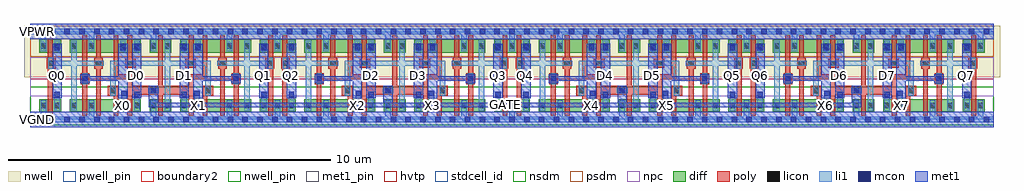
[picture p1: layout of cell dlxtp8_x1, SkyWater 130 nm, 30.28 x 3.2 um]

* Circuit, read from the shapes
.subckt dlxtp8_x1 D0 D1 D2 D3 D4 D5 D6 D7 GATE GN0 GN1 GN2 GN3 Q0 Q1 Q2 Q3 Q4 Q5 Q6 Q7 VGND VNB VPB VPWR X0 X1 X2 X3 X4 X5 X6 X7 XB0 XB1 XB2 XB3 XB4 XB5 XB6 XB7
XM1 Q0 XB0 VGND VNB sky130_fd_pr__nfet_01v8 w=0.39 l=0.15
XM2 VGND X0 XB0 VNB sky130_fd_pr__nfet_01v8 w=0.39 l=0.15
XM3 n1 XB0 VGND VNB sky130_fd_pr__nfet_01v8 w=0.39 l=0.15
XM4 X0 GN0 n1 VNB sky130_fd_pr__nfet_01v8 w=0.39 l=0.15
XM5 D0 GATE X0 VNB sky130_fd_pr__nfet_01v8 w=0.39 l=0.15
XM6 GN0 GATE VGND VNB sky130_fd_pr__nfet_01v8 w=0.39 l=0.15
XM7 X1 GATE D1 VNB sky130_fd_pr__nfet_01v8 w=0.39 l=0.15
XM8 n2 GN0 X1 VNB sky130_fd_pr__nfet_01v8 w=0.39 l=0.15
XM9 VGND XB1 n2 VNB sky130_fd_pr__nfet_01v8 w=0.39 l=0.15
XM10 XB1 X1 VGND VNB sky130_fd_pr__nfet_01v8 w=0.39 l=0.15
XM11 VGND XB1 Q1 VNB sky130_fd_pr__nfet_01v8 w=0.39 l=0.15
XM12 Q2 XB2 VGND VNB sky130_fd_pr__nfet_01v8 w=0.39 l=0.15
XM13 VGND X2 XB2 VNB sky130_fd_pr__nfet_01v8 w=0.39 l=0.15
XM14 n3 XB2 VGND VNB sky130_fd_pr__nfet_01v8 w=0.39 l=0.15
XM15 X2 GN1 n3 VNB sky130_fd_pr__nfet_01v8 w=0.39 l=0.15
XM16 D2 GATE X2 VNB sky130_fd_pr__nfet_01v8 w=0.39 l=0.15
XM17 GN1 GATE VGND VNB sky130_fd_pr__nfet_01v8 w=0.39 l=0.15
XM18 X3 GATE D3 VNB sky130_fd_pr__nfet_01v8 w=0.39 l=0.15
XM19 n4 GN1 X3 VNB sky130_fd_pr__nfet_01v8 w=0.39 l=0.15
XM20 VGND XB3 n4 VNB sky130_fd_pr__nfet_01v8 w=0.39 l=0.15
XM21 XB3 X3 VGND VNB sky130_fd_pr__nfet_01v8 w=0.39 l=0.15
XM22 VGND XB3 Q3 VNB sky130_fd_pr__nfet_01v8 w=0.39 l=0.15
XM23 Q4 XB4 VGND VNB sky130_fd_pr__nfet_01v8 w=0.39 l=0.15
XM24 VGND X4 XB4 VNB sky130_fd_pr__nfet_01v8 w=0.39 l=0.15
XM25 n5 XB4 VGND VNB sky130_fd_pr__nfet_01v8 w=0.39 l=0.15
XM26 X4 GN2 n5 VNB sky130_fd_pr__nfet_01v8 w=0.39 l=0.15
XM27 D4 GATE X4 VNB sky130_fd_pr__nfet_01v8 w=0.39 l=0.15
XM28 GN2 GATE VGND VNB sky130_fd_pr__nfet_01v8 w=0.39 l=0.15
XM29 X5 GATE D5 VNB sky130_fd_pr__nfet_01v8 w=0.39 l=0.15
XM30 n6 GN2 X5 VNB sky130_fd_pr__nfet_01v8 w=0.39 l=0.15
XM31 VGND XB5 n6 VNB sky130_fd_pr__nfet_01v8 w=0.39 l=0.15
XM32 XB5 X5 VGND VNB sky130_fd_pr__nfet_01v8 w=0.39 l=0.15
XM33 VGND XB5 Q5 VNB sky130_fd_pr__nfet_01v8 w=0.39 l=0.15
XM34 Q6 XB6 VGND VNB sky130_fd_pr__nfet_01v8 w=0.39 l=0.15
XM35 VGND X6 XB6 VNB sky130_fd_pr__nfet_01v8 w=0.39 l=0.15
XM36 n7 XB6 VGND VNB sky130_fd_pr__nfet_01v8 w=0.39 l=0.15
XM37 X6 GN3 n7 VNB sky130_fd_pr__nfet_01v8 w=0.39 l=0.15
XM38 D6 GATE X6 VNB sky130_fd_pr__nfet_01v8 w=0.39 l=0.15
XM39 GN3 GATE VGND VNB sky130_fd_pr__nfet_01v8 w=0.39 l=0.15
XM40 X7 GATE D7 VNB sky130_fd_pr__nfet_01v8 w=0.39 l=0.15
XM41 n8 GN3 X7 VNB sky130_fd_pr__nfet_01v8 w=0.39 l=0.15
XM42 VGND XB7 n8 VNB sky130_fd_pr__nfet_01v8 w=0.39 l=0.15
XM43 XB7 X7 VGND VNB sky130_fd_pr__nfet_01v8 w=0.39 l=0.15
XM44 VGND XB7 Q7 VNB sky130_fd_pr__nfet_01v8 w=0.39 l=0.15
XM45 Q0 XB0 VPWR VPB sky130_fd_pr__pfet_01v8_hvt w=0.42 l=0.15
XM46 VPWR X0 XB0 VPB sky130_fd_pr__pfet_01v8_hvt w=0.42 l=0.15
XM47 n9 XB0 VPWR VPB sky130_fd_pr__pfet_01v8_hvt w=0.42 l=0.15
XM48 X0 GATE n9 VPB sky130_fd_pr__pfet_01v8_hvt w=0.42 l=0.15
XM49 D0 GN0 X0 VPB sky130_fd_pr__pfet_01v8_hvt w=0.42 l=0.15
XM50 GN0 GATE VPWR VPB sky130_fd_pr__pfet_01v8_hvt w=0.42 l=0.15
XM51 X1 GN0 D1 VPB sky130_fd_pr__pfet_01v8_hvt w=0.42 l=0.15
XM52 n10 GATE X1 VPB sky130_fd_pr__pfet_01v8_hvt w=0.42 l=0.15
XM53 VPWR XB1 n10 VPB sky130_fd_pr__pfet_01v8_hvt w=0.42 l=0.15
XM54 XB1 X1 VPWR VPB sky130_fd_pr__pfet_01v8_hvt w=0.42 l=0.15
XM55 VPWR XB1 Q1 VPB sky130_fd_pr__pfet_01v8_hvt w=0.42 l=0.15
XM56 Q2 XB2 VPWR VPB sky130_fd_pr__pfet_01v8_hvt w=0.42 l=0.15
XM57 VPWR X2 XB2 VPB sky130_fd_pr__pfet_01v8_hvt w=0.42 l=0.15
XM58 n11 XB2 VPWR VPB sky130_fd_pr__pfet_01v8_hvt w=0.42 l=0.15
XM59 X2 GATE n11 VPB sky130_fd_pr__pfet_01v8_hvt w=0.42 l=0.15
XM60 D2 GN1 X2 VPB sky130_fd_pr__pfet_01v8_hvt w=0.42 l=0.15
XM61 GN1 GATE VPWR VPB sky130_fd_pr__pfet_01v8_hvt w=0.42 l=0.15
XM62 X3 GN1 D3 VPB sky130_fd_pr__pfet_01v8_hvt w=0.42 l=0.15
XM63 n12 GATE X3 VPB sky130_fd_pr__pfet_01v8_hvt w=0.42 l=0.15
XM64 VPWR XB3 n12 VPB sky130_fd_pr__pfet_01v8_hvt w=0.42 l=0.15
XM65 XB3 X3 VPWR VPB sky130_fd_pr__pfet_01v8_hvt w=0.42 l=0.15
XM66 VPWR XB3 Q3 VPB sky130_fd_pr__pfet_01v8_hvt w=0.42 l=0.15
XM67 Q4 XB4 VPWR VPB sky130_fd_pr__pfet_01v8_hvt w=0.42 l=0.15
XM68 VPWR X4 XB4 VPB sky130_fd_pr__pfet_01v8_hvt w=0.42 l=0.15
XM69 n13 XB4 VPWR VPB sky130_fd_pr__pfet_01v8_hvt w=0.42 l=0.15
XM70 X4 GATE n13 VPB sky130_fd_pr__pfet_01v8_hvt w=0.42 l=0.15
XM71 D4 GN2 X4 VPB sky130_fd_pr__pfet_01v8_hvt w=0.42 l=0.15
XM72 GN2 GATE VPWR VPB sky130_fd_pr__pfet_01v8_hvt w=0.42 l=0.15
XM73 X5 GN2 D5 VPB sky130_fd_pr__pfet_01v8_hvt w=0.42 l=0.15
XM74 n14 GATE X5 VPB sky130_fd_pr__pfet_01v8_hvt w=0.42 l=0.15
XM75 VPWR XB5 n14 VPB sky130_fd_pr__pfet_01v8_hvt w=0.42 l=0.15
XM76 XB5 X5 VPWR VPB sky130_fd_pr__pfet_01v8_hvt w=0.42 l=0.15
XM77 VPWR XB5 Q5 VPB sky130_fd_pr__pfet_01v8_hvt w=0.42 l=0.15
XM78 Q6 XB6 VPWR VPB sky130_fd_pr__pfet_01v8_hvt w=0.42 l=0.15
XM79 VPWR X6 XB6 VPB sky130_fd_pr__pfet_01v8_hvt w=0.42 l=0.15
XM80 n15 XB6 VPWR VPB sky130_fd_pr__pfet_01v8_hvt w=0.42 l=0.15
XM81 X6 GATE n15 VPB sky130_fd_pr__pfet_01v8_hvt w=0.42 l=0.15
XM82 D6 GN3 X6 VPB sky130_fd_pr__pfet_01v8_hvt w=0.42 l=0.15
XM83 GN3 GATE VPWR VPB sky130_fd_pr__pfet_01v8_hvt w=0.42 l=0.15
XM84 X7 GN3 D7 VPB sky130_fd_pr__pfet_01v8_hvt w=0.42 l=0.15
XM85 n16 GATE X7 VPB sky130_fd_pr__pfet_01v8_hvt w=0.42 l=0.15
XM86 VPWR XB7 n16 VPB sky130_fd_pr__pfet_01v8_hvt w=0.42 l=0.15
XM87 XB7 X7 VPWR VPB sky130_fd_pr__pfet_01v8_hvt w=0.42 l=0.15
XM88 VPWR XB7 Q7 VPB sky130_fd_pr__pfet_01v8_hvt w=0.42 l=0.15
.ends

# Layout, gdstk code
import gdstk
lib = gdstk.Library(unit=1e-6, precision=1e-09)
def R(c, l, rs):  # rectangles x0, y0, x1, y1
    for r in rs: c.add(gdstk.rectangle(r[:2], r[2:], *l))
def A(c, l, x, y, w, h, nx, ny, dx, dy):  # array of equal rectangles
    R(c, l, [(x+i*dx, y+j*dy, x+i*dx+w, y+j*dy+h) for i in range(nx) for j in range(ny)])
def P(c, l, *ps):  # polygons
    for p in ps: c.add(gdstk.Polygon(p, *l))
nwell_pin = (64, 16)
nwell = (64, 20)
diff = (65, 20)
poly = (66, 20)
licon = (66, 44)
li1 = (67, 20)
mcon = (67, 44)
met1_pin = (68, 16)
met1 = (68, 20)
hvtp = (78, 44)
stdcell_id = (81, 4)
nsdm = (93, 44)
psdm = (94, 20)
npc = (95, 20)
pwell_pin = (122, 16)
boundary2 = (236, 0)

dlxtp8_x1 = lib.new_cell('dlxtp8_x1')
R(dlxtp8_x1, nwell_pin, [(0.15,2.635,0.32,2.805)])
R(dlxtp8_x1, nwell, [(-0.19,1.305,30.09,2.91)])
A(dlxtp8_x1, diff, 3.705, 0.235, 0.68, 0.39, 4, 1, 7.27, 0)
A(dlxtp8_x1, diff, 7.125, 0.235, 1.11, 0.39, 3, 1, 7.27, 0)
A(dlxtp8_x1, diff, 3.705, 2.06, 0.68, 0.42, 4, 1, 7.27, 0)
A(dlxtp8_x1, diff, 7.125, 2.06, 1.11, 0.42, 3, 1, 7.27, 0)
R(dlxtp8_x1, diff, [(0.285,0.235,0.965,0.625), (1.235,0.235,3.435,0.625), (4.655,0.235,6.855,0.625), (8.505,0.235,10.705,0.625), (11.925,0.235,14.125,0.625), (15.775,0.235,17.975,0.625), (19.195,0.235,21.395,0.625), (23.045,0.235,25.245,0.625), (26.465,0.235,28.665,0.625), (28.935,0.235,29.615,0.625), (0.285,2.06,0.965,2.48), (1.235,2.06,3.435,2.48), (4.655,2.06,6.855,2.48), (8.505,2.06,10.705,2.48), (11.925,2.06,14.125,2.48), (15.775,2.06,17.975,2.48), (19.195,2.06,21.395,2.48), (23.045,2.06,25.245,2.48), (26.465,2.06,28.665,2.48), (28.935,2.06,29.615,2.48)])
P(dlxtp8_x1, poly, [(6.325,0.105),(6.325,1.095),(6.255,1.095),(6.255,1.425),(6.325,1.425),(6.325,2.61),(6.475,2.61),(6.475,1.425),(6.525,1.425),(6.525,1.095),(6.475,1.095),(6.475,0.105)],
  [(13.595,0.105),(13.595,1.095),(13.525,1.095),(13.525,1.425),(13.595,1.425),(13.595,2.61),(13.745,2.61),(13.745,1.425),(13.795,1.425),(13.795,1.095),(13.745,1.095),(13.745,0.105)],
  [(20.865,0.105),(20.865,1.095),(20.795,1.095),(20.795,1.425),(20.865,1.425),(20.865,2.61),(21.015,2.61),(21.015,1.425),(21.065,1.425),(21.065,1.095),(21.015,1.095),(21.015,0.105)],
  [(28.135,0.105),(28.135,1.095),(28.065,1.095),(28.065,1.425),(28.135,1.425),(28.135,2.61),(28.285,2.61),(28.285,1.425),(28.335,1.425),(28.335,1.095),(28.285,1.095),(28.285,0.105)],
  [(3.02,0.105),(3.02,1.245),(2.59,1.245),(2.59,2.61),(2.74,2.61),(2.74,1.395),(3.17,1.395),(3.17,1.035),(3.97,1.035),(3.97,2.61),(4.12,2.61),(4.12,1.035),(4.92,1.035),(4.92,1.395),(5.35,1.395),(5.35,2.61),(5.5,2.61),(5.5,1.245),(5.07,1.245),(5.07,0.105),(4.92,0.105),(4.92,0.765),(4.12,0.765),(4.12,0.105),(3.97,0.105),(3.97,0.765),(3.17,0.765),(3.17,0.105)],
  [(10.29,0.105),(10.29,1.245),(9.86,1.245),(9.86,2.61),(10.01,2.61),(10.01,1.395),(10.44,1.395),(10.44,1.035),(11.24,1.035),(11.24,2.61),(11.39,2.61),(11.39,1.035),(12.19,1.035),(12.19,1.395),(12.62,1.395),(12.62,2.61),(12.77,2.61),(12.77,1.245),(12.34,1.245),(12.34,0.105),(12.19,0.105),(12.19,0.765),(11.39,0.765),(11.39,0.105),(11.24,0.105),(11.24,0.765),(10.44,0.765),(10.44,0.105)],
  [(17.56,0.105),(17.56,1.245),(17.13,1.245),(17.13,2.61),(17.28,2.61),(17.28,1.395),(17.71,1.395),(17.71,1.035),(18.51,1.035),(18.51,2.61),(18.66,2.61),(18.66,1.035),(19.46,1.035),(19.46,1.395),(19.89,1.395),(19.89,2.61),(20.04,2.61),(20.04,1.245),(19.61,1.245),(19.61,0.105),(19.46,0.105),(19.46,0.765),(18.66,0.765),(18.66,0.105),(18.51,0.105),(18.51,0.765),(17.71,0.765),(17.71,0.105)],
  [(24.83,0.105),(24.83,1.245),(24.4,1.245),(24.4,2.61),(24.55,2.61),(24.55,1.395),(24.98,1.395),(24.98,1.035),(25.78,1.035),(25.78,2.61),(25.93,2.61),(25.93,1.035),(26.73,1.035),(26.73,1.395),(27.16,1.395),(27.16,2.61),(27.31,2.61),(27.31,1.245),(26.88,1.245),(26.88,0.105),(26.73,0.105),(26.73,0.765),(25.93,0.765),(25.93,0.105),(25.78,0.105),(25.78,0.765),(24.98,0.765),(24.98,0.105)],
  [(4.81,1.605),(4.81,1.875),(4.92,1.875),(4.92,2.61),(5.07,2.61),(5.07,1.875),(5.14,1.875),(5.14,1.605)],
  [(12.08,1.605),(12.08,1.875),(12.19,1.875),(12.19,2.61),(12.34,2.61),(12.34,1.875),(12.41,1.875),(12.41,1.605)],
  [(19.35,1.605),(19.35,1.875),(19.46,1.875),(19.46,2.61),(19.61,2.61),(19.61,1.875),(19.68,1.875),(19.68,1.605)],
  [(26.62,1.605),(26.62,1.875),(26.73,1.875),(26.73,2.61),(26.88,2.61),(26.88,1.875),(26.95,1.875),(26.95,1.605)],
  [(2.95,1.605),(2.95,1.875),(3.02,1.875),(3.02,2.61),(3.17,2.61),(3.17,1.875),(3.28,1.875),(3.28,1.605)],
  [(10.22,1.605),(10.22,1.875),(10.29,1.875),(10.29,2.61),(10.44,2.61),(10.44,1.875),(10.55,1.875),(10.55,1.605)],
  [(17.49,1.605),(17.49,1.875),(17.56,1.875),(17.56,2.61),(17.71,2.61),(17.71,1.875),(17.82,1.875),(17.82,1.605)],
  [(24.76,1.605),(24.76,1.875),(24.83,1.875),(24.83,2.61),(24.98,2.61),(24.98,1.875),(25.09,1.875),(25.09,1.605)],
  [(2.045,0.105),(2.045,1.575),(1.985,1.575),(1.985,1.905),(2.045,1.905),(2.045,2.61),(2.195,2.61),(2.195,1.905),(2.255,1.905),(2.255,1.575),(2.195,1.575),(2.195,0.105)],
  [(5.895,0.105),(5.895,1.575),(5.835,1.575),(5.835,1.905),(5.895,1.905),(5.895,2.61),(6.045,2.61),(6.045,1.905),(6.105,1.905),(6.105,1.575),(6.045,1.575),(6.045,0.105)],
  [(9.315,0.105),(9.315,1.575),(9.255,1.575),(9.255,1.905),(9.315,1.905),(9.315,2.61),(9.465,2.61),(9.465,1.905),(9.525,1.905),(9.525,1.575),(9.465,1.575),(9.465,0.105)],
  [(13.165,0.105),(13.165,1.575),(13.105,1.575),(13.105,1.905),(13.165,1.905),(13.165,2.61),(13.315,2.61),(13.315,1.905),(13.375,1.905),(13.375,1.575),(13.315,1.575),(13.315,0.105)],
  [(16.585,0.105),(16.585,1.575),(16.525,1.575),(16.525,1.905),(16.585,1.905),(16.585,2.61),(16.735,2.61),(16.735,1.905),(16.795,1.905),(16.795,1.575),(16.735,1.575),(16.735,0.105)],
  [(20.435,0.105),(20.435,1.575),(20.375,1.575),(20.375,1.905),(20.435,1.905),(20.435,2.61),(20.585,2.61),(20.585,1.905),(20.645,1.905),(20.645,1.575),(20.585,1.575),(20.585,0.105)],
  [(23.855,0.105),(23.855,1.575),(23.795,1.575),(23.795,1.905),(23.855,1.905),(23.855,2.61),(24.005,2.61),(24.005,1.905),(24.065,1.905),(24.065,1.575),(24.005,1.575),(24.005,0.105)],
  [(27.705,0.105),(27.705,1.575),(27.645,1.575),(27.645,1.905),(27.705,1.905),(27.705,2.61),(27.855,2.61),(27.855,1.905),(27.915,1.905),(27.915,1.575),(27.855,1.575),(27.855,0.105)],
  [(1.615,0.105),(1.615,1.095),(1.565,1.095),(1.565,1.425),(1.615,1.425),(1.615,2.61),(1.765,2.61),(1.765,1.425),(1.835,1.425),(1.835,1.095),(1.765,1.095),(1.765,0.105)],
  [(8.885,0.105),(8.885,1.095),(8.835,1.095),(8.835,1.425),(8.885,1.425),(8.885,2.61),(9.035,2.61),(9.035,1.425),(9.105,1.425),(9.105,1.095),(9.035,1.095),(9.035,0.105)],
  [(16.155,0.105),(16.155,1.095),(16.105,1.095),(16.105,1.425),(16.155,1.425),(16.155,2.61),(16.305,2.61),(16.305,1.425),(16.375,1.425),(16.375,1.095),(16.305,1.095),(16.305,0.105)],
  [(23.425,0.105),(23.425,1.095),(23.375,1.095),(23.375,1.425),(23.425,1.425),(23.425,2.61),(23.575,2.61),(23.575,1.425),(23.645,1.425),(23.645,1.095),(23.575,1.095),(23.575,0.105)],
  [(5.35,0.105),(5.35,1.035),(5.685,1.035),(5.685,0.735),(5.5,0.735),(5.5,0.105)],
  [(12.62,0.105),(12.62,1.035),(12.955,1.035),(12.955,0.735),(12.77,0.735),(12.77,0.105)],
  [(19.89,0.105),(19.89,1.035),(20.225,1.035),(20.225,0.735),(20.04,0.735),(20.04,0.105)],
  [(27.16,0.105),(27.16,1.035),(27.495,1.035),(27.495,0.735),(27.31,0.735),(27.31,0.105)],
  [(7.39,0.105),(7.39,1.575),(7.3,1.575),(7.3,1.905),(7.39,1.905),(7.39,2.61),(7.54,2.61),(7.54,1.905),(7.57,1.905),(7.57,1.575),(7.54,1.575),(7.54,0.105)],
  [(14.66,0.105),(14.66,1.575),(14.57,1.575),(14.57,1.905),(14.66,1.905),(14.66,2.61),(14.81,2.61),(14.81,1.905),(14.84,1.905),(14.84,1.575),(14.81,1.575),(14.81,0.105)],
  [(21.93,0.105),(21.93,1.575),(21.84,1.575),(21.84,1.905),(21.93,1.905),(21.93,2.61),(22.08,2.61),(22.08,1.905),(22.11,1.905),(22.11,1.575),(22.08,1.575),(22.08,0.105)],
  [(29.2,0.105),(29.2,1.575),(29.11,1.575),(29.11,1.905),(29.2,1.905),(29.2,2.61),(29.35,2.61),(29.35,1.905),(29.38,1.905),(29.38,1.575),(29.35,1.575),(29.35,0.105)],
  [(0.55,0.105),(0.55,1.575),(0.52,1.575),(0.52,1.905),(0.55,1.905),(0.55,2.61),(0.7,2.61),(0.7,1.905),(0.79,1.905),(0.79,1.575),(0.7,1.575),(0.7,0.105)],
  [(7.82,0.105),(7.82,1.575),(7.79,1.575),(7.79,1.905),(7.82,1.905),(7.82,2.61),(7.97,2.61),(7.97,1.905),(8.06,1.905),(8.06,1.575),(7.97,1.575),(7.97,0.105)],
  [(15.09,0.105),(15.09,1.575),(15.06,1.575),(15.06,1.905),(15.09,1.905),(15.09,2.61),(15.24,2.61),(15.24,1.905),(15.33,1.905),(15.33,1.575),(15.24,1.575),(15.24,0.105)],
  [(22.36,0.105),(22.36,1.575),(22.33,1.575),(22.33,1.905),(22.36,1.905),(22.36,2.61),(22.51,2.61),(22.51,1.905),(22.6,1.905),(22.6,1.575),(22.51,1.575),(22.51,0.105)],
  [(2.59,0.105),(2.59,0.735),(2.405,0.735),(2.405,1.035),(2.74,1.035),(2.74,0.105)],
  [(9.86,0.105),(9.86,0.735),(9.675,0.735),(9.675,1.035),(10.01,1.035),(10.01,0.105)],
  [(17.13,0.105),(17.13,0.735),(16.945,0.735),(16.945,1.035),(17.28,1.035),(17.28,0.105)],
  [(24.4,0.105),(24.4,0.735),(24.215,0.735),(24.215,1.035),(24.55,1.035),(24.55,0.105)])
A(dlxtp8_x1, licon, 7.165, 0.34, 0.17, 0.17, 3, 2, 0.43, 1.845)
A(dlxtp8_x1, licon, 14.435, 0.34, 0.17, 0.17, 3, 2, 0.43, 1.845)
A(dlxtp8_x1, licon, 21.705, 0.34, 0.17, 0.17, 3, 2, 0.43, 1.845)
R(dlxtp8_x1, licon, [(0.325,0.34,0.495,0.51), (0.755,0.34,0.925,0.51), (1.275,0.34,1.445,0.51), (1.82,0.34,1.99,0.51), (2.795,0.34,2.965,0.51), (3.225,0.34,3.395,0.51), (3.745,0.34,3.915,0.51), (4.175,0.34,4.345,0.51), (4.695,0.34,4.865,0.51), (5.125,0.34,5.295,0.51), (6.1,0.34,6.27,0.51), (6.645,0.34,6.815,0.51), (8.545,0.34,8.715,0.51), (9.09,0.34,9.26,0.51), (10.065,0.34,10.235,0.51), (10.495,0.34,10.665,0.51), (11.015,0.34,11.185,0.51), (11.445,0.34,11.615,0.51), (11.965,0.34,12.135,0.51), (12.395,0.34,12.565,0.51), (13.37,0.34,13.54,0.51), (13.915,0.34,14.085,0.51), (15.815,0.34,15.985,0.51), (16.36,0.34,16.53,0.51), (17.335,0.34,17.505,0.51), (17.765,0.34,17.935,0.51), (18.285,0.34,18.455,0.51), (18.715,0.34,18.885,0.51), (19.235,0.34,19.405,0.51), (19.665,0.34,19.835,0.51), (20.64,0.34,20.81,0.51), (21.185,0.34,21.355,0.51), (23.085,0.34,23.255,0.51), (23.63,0.34,23.8,0.51), (24.605,0.34,24.775,0.51), (25.035,0.34,25.205,0.51), (25.555,0.34,25.725,0.51), (25.985,0.34,26.155,0.51), (26.505,0.34,26.675,0.51), (26.935,0.34,27.105,0.51), (27.91,0.34,28.08,0.51), (28.455,0.34,28.625,0.51), (28.975,0.34,29.145,0.51), (29.405,0.34,29.575,0.51), (2.485,0.815,2.655,0.985), (3.745,0.815,3.915,0.985), (5.435,0.815,5.605,0.985), (9.755,0.815,9.925,0.985), (11.015,0.815,11.185,0.985), (12.705,0.815,12.875,0.985), (17.025,0.815,17.195,0.985), (18.285,0.815,18.455,0.985), (19.975,0.815,20.145,0.985), (24.295,0.815,24.465,0.985), (25.555,0.815,25.725,0.985), (27.245,0.815,27.415,0.985), (1.615,1.175,1.785,1.345), (6.305,1.175,6.475,1.345), (8.885,1.175,9.055,1.345), (13.575,1.175,13.745,1.345), (16.155,1.175,16.325,1.345), (20.845,1.175,21.015,1.345), (23.425,1.175,23.595,1.345), (28.115,1.175,28.285,1.345), (0.57,1.655,0.74,1.825), (2.035,1.655,2.205,1.825), (3.03,1.655,3.2,1.825), (4.89,1.655,5.06,1.825), (5.885,1.655,6.055,1.825), (7.35,1.655,7.52,1.825), (7.84,1.655,8.01,1.825), (9.305,1.655,9.475,1.825), (10.3,1.655,10.47,1.825), (12.16,1.655,12.33,1.825), (13.155,1.655,13.325,1.825), (14.62,1.655,14.79,1.825), (15.11,1.655,15.28,1.825), (16.575,1.655,16.745,1.825), (17.57,1.655,17.74,1.825), (19.43,1.655,19.6,1.825), (20.425,1.655,20.595,1.825), (21.89,1.655,22.06,1.825), (22.38,1.655,22.55,1.825), (23.845,1.655,24.015,1.825), (24.84,1.655,25.01,1.825), (26.7,1.655,26.87,1.825), (27.695,1.655,27.865,1.825), (29.16,1.655,29.33,1.825), (0.325,2.185,0.495,2.355), (0.755,2.185,0.925,2.355), (1.275,2.185,1.445,2.355), (1.82,2.185,1.99,2.355), (2.795,2.185,2.965,2.355), (3.225,2.185,3.395,2.355), (3.745,2.185,3.915,2.355), (4.175,2.185,4.345,2.355), (4.695,2.185,4.865,2.355), (5.125,2.185,5.295,2.355), (6.1,2.185,6.27,2.355), (6.645,2.185,6.815,2.355), (8.545,2.185,8.715,2.355), (9.09,2.185,9.26,2.355), (10.065,2.185,10.235,2.355), (10.495,2.185,10.665,2.355), (11.015,2.185,11.185,2.355), (11.445,2.185,11.615,2.355), (11.965,2.185,12.135,2.355), (12.395,2.185,12.565,2.355), (13.37,2.185,13.54,2.355), (13.915,2.185,14.085,2.355), (15.815,2.185,15.985,2.355), (16.36,2.185,16.53,2.355), (17.335,2.185,17.505,2.355), (17.765,2.185,17.935,2.355), (18.285,2.185,18.455,2.355), (18.715,2.185,18.885,2.355), (19.235,2.185,19.405,2.355), (19.665,2.185,19.835,2.355), (20.64,2.185,20.81,2.355), (21.185,2.185,21.355,2.355), (23.085,2.185,23.255,2.355), (23.63,2.185,23.8,2.355), (24.605,2.185,24.775,2.355), (25.035,2.185,25.205,2.355), (25.555,2.185,25.725,2.355), (25.985,2.185,26.155,2.355), (26.505,2.185,26.675,2.355), (26.935,2.185,27.105,2.355), (27.91,2.185,28.08,2.355), (28.455,2.185,28.625,2.355), (28.975,2.185,29.145,2.355), (29.405,2.185,29.575,2.355)])
A(dlxtp8_x1, li1, 3.665, 0.815, 0.33, 0.17, 4, 1, 7.27, 0)
R(dlxtp8_x1, li1, [(0.755,0.26,0.925,0.86), (3.225,0.26,3.395,0.86), (4.695,0.26,4.865,0.86), (7.165,0.26,7.335,0.86), (8.025,0.26,8.195,0.86), (10.495,0.26,10.665,0.86), (11.965,0.26,12.135,0.86), (14.435,0.26,14.605,0.86), (15.295,0.26,15.465,0.86), (17.765,0.26,17.935,0.86), (19.235,0.26,19.405,0.86), (21.705,0.26,21.875,0.86), (22.565,0.26,22.735,0.86), (25.035,0.26,25.205,0.86), (26.505,0.26,26.675,0.86), (28.975,0.26,29.145,0.86), (1.615,1.095,1.785,1.425), (6.305,1.095,6.475,1.425), (8.885,1.095,9.055,1.425), (13.575,1.095,13.745,1.425), (16.155,1.095,16.325,1.425), (20.845,1.095,21.015,1.425), (23.425,1.095,23.595,1.425), (28.115,1.095,28.285,1.425), (0.755,2.105,0.925,2.435), (2.795,2.105,2.965,2.435), (3.225,2.105,3.395,2.435), (4.695,2.105,4.865,2.435), (5.125,2.105,5.295,2.435), (7.165,2.105,7.335,2.435), (8.025,2.105,8.195,2.435), (10.065,2.105,10.235,2.435), (10.495,2.105,10.665,2.435), (11.965,2.105,12.135,2.435), (12.395,2.105,12.565,2.435), (14.435,2.105,14.605,2.435), (15.295,2.105,15.465,2.435), (17.335,2.105,17.505,2.435), (17.765,2.105,17.935,2.435), (19.235,2.105,19.405,2.435), (19.665,2.105,19.835,2.435), (21.705,2.105,21.875,2.435), (22.565,2.105,22.735,2.435), (24.605,2.105,24.775,2.435), (25.035,2.105,25.205,2.435), (26.505,2.105,26.675,2.435), (26.935,2.105,27.105,2.435), (28.975,2.105,29.145,2.435)])
P(dlxtp8_x1, li1, [(6.645,0.26),(6.645,1.655),(5.805,1.655),(5.805,1.825),(6.645,1.825),(6.645,2.435),(6.815,2.435),(6.815,1.825),(7.35,1.825),(7.35,1.905),(7.52,1.905),(7.52,1.575),(7.35,1.575),(7.35,1.655),(6.815,1.655),(6.815,0.26)],
  [(13.915,0.26),(13.915,1.655),(13.075,1.655),(13.075,1.825),(13.915,1.825),(13.915,2.435),(14.085,2.435),(14.085,1.825),(14.62,1.825),(14.62,1.905),(14.79,1.905),(14.79,1.575),(14.62,1.575),(14.62,1.655),(14.085,1.655),(14.085,0.26)],
  [(21.185,0.26),(21.185,1.655),(20.345,1.655),(20.345,1.825),(21.185,1.825),(21.185,2.435),(21.355,2.435),(21.355,1.825),(21.89,1.825),(21.89,1.905),(22.06,1.905),(22.06,1.575),(21.89,1.575),(21.89,1.655),(21.355,1.655),(21.355,0.26)],
  [(28.455,0.26),(28.455,1.655),(27.615,1.655),(27.615,1.825),(28.455,1.825),(28.455,2.435),(28.625,2.435),(28.625,1.825),(29.16,1.825),(29.16,1.905),(29.33,1.905),(29.33,1.575),(29.16,1.575),(29.16,1.655),(28.625,1.655),(28.625,0.26)],
  [(0.325,2.105),(0.325,2.635),(0,2.635),(0,2.805),(29.9,2.805),(29.9,2.635),(29.575,2.635),(29.575,2.105),(29.405,2.105),(29.405,2.635),(28.08,2.635),(28.08,2.105),(27.91,2.105),(27.91,2.635),(25.725,2.635),(25.725,2.105),(25.555,2.105),(25.555,2.635),(23.8,2.635),(23.8,2.105),(23.63,2.105),(23.63,2.635),(22.305,2.635),(22.305,2.105),(22.135,2.105),(22.135,2.635),(20.81,2.635),(20.81,2.105),(20.64,2.105),(20.64,2.635),(18.455,2.635),(18.455,2.105),(18.285,2.105),(18.285,2.635),(16.53,2.635),(16.53,2.105),(16.36,2.105),(16.36,2.635),(15.035,2.635),(15.035,2.105),(14.865,2.105),(14.865,2.635),(13.54,2.635),(13.54,2.105),(13.37,2.105),(13.37,2.635),(11.185,2.635),(11.185,2.105),(11.015,2.105),(11.015,2.635),(9.26,2.635),(9.26,2.105),(9.09,2.105),(9.09,2.635),(7.765,2.635),(7.765,2.105),(7.595,2.105),(7.595,2.635),(6.27,2.635),(6.27,2.105),(6.1,2.105),(6.1,2.635),(3.915,2.635),(3.915,2.105),(3.745,2.105),(3.745,2.635),(1.99,2.635),(1.99,2.105),(1.82,2.105),(1.82,2.635),(0.495,2.635),(0.495,2.105)],
  [(4.175,0.26),(4.175,1.655),(2.655,1.655),(2.655,0.735),(2.485,0.735),(2.485,1.825),(4.175,1.825),(4.175,2.435),(4.345,2.435),(4.345,1.825),(5.605,1.825),(5.605,0.735),(5.435,0.735),(5.435,1.655),(4.345,1.655),(4.345,0.26)],
  [(11.445,0.26),(11.445,1.655),(9.925,1.655),(9.925,0.735),(9.755,0.735),(9.755,1.825),(11.445,1.825),(11.445,2.435),(11.615,2.435),(11.615,1.825),(12.875,1.825),(12.875,0.735),(12.705,0.735),(12.705,1.655),(11.615,1.655),(11.615,0.26)],
  [(18.715,0.26),(18.715,1.655),(17.195,1.655),(17.195,0.735),(17.025,0.735),(17.025,1.825),(18.715,1.825),(18.715,2.435),(18.885,2.435),(18.885,1.825),(20.145,1.825),(20.145,0.735),(19.975,0.735),(19.975,1.655),(18.885,1.655),(18.885,0.26)],
  [(25.985,0.26),(25.985,1.655),(24.465,1.655),(24.465,0.735),(24.295,0.735),(24.295,1.825),(25.985,1.825),(25.985,2.435),(26.155,2.435),(26.155,1.825),(27.415,1.825),(27.415,0.735),(27.245,0.735),(27.245,1.655),(26.155,1.655),(26.155,0.26)],
  [(1.275,0.26),(1.275,1.655),(0.74,1.655),(0.74,1.575),(0.57,1.575),(0.57,1.905),(0.74,1.905),(0.74,1.825),(1.275,1.825),(1.275,2.435),(1.445,2.435),(1.445,1.825),(2.285,1.825),(2.285,1.655),(1.445,1.655),(1.445,0.26)],
  [(8.545,0.26),(8.545,1.655),(8.01,1.655),(8.01,1.575),(7.84,1.575),(7.84,1.905),(8.01,1.905),(8.01,1.825),(8.545,1.825),(8.545,2.435),(8.715,2.435),(8.715,1.825),(9.555,1.825),(9.555,1.655),(8.715,1.655),(8.715,0.26)],
  [(15.815,0.26),(15.815,1.655),(15.28,1.655),(15.28,1.575),(15.11,1.575),(15.11,1.905),(15.28,1.905),(15.28,1.825),(15.815,1.825),(15.815,2.435),(15.985,2.435),(15.985,1.825),(16.825,1.825),(16.825,1.655),(15.985,1.655),(15.985,0.26)],
  [(23.085,0.26),(23.085,1.655),(22.55,1.655),(22.55,1.575),(22.38,1.575),(22.38,1.905),(22.55,1.905),(22.55,1.825),(23.085,1.825),(23.085,2.435),(23.255,2.435),(23.255,1.825),(24.095,1.825),(24.095,1.655),(23.255,1.655),(23.255,0.26)],
  [(5.125,0.26),(5.125,0.425),(5.095,0.425),(5.095,0.89),(5.265,0.89),(5.265,0.59),(5.295,0.59),(5.295,0.26)],
  [(12.395,0.26),(12.395,0.425),(12.365,0.425),(12.365,0.89),(12.535,0.89),(12.535,0.59),(12.565,0.59),(12.565,0.26)],
  [(19.665,0.26),(19.665,0.425),(19.635,0.425),(19.635,0.89),(19.805,0.89),(19.805,0.59),(19.835,0.59),(19.835,0.26)],
  [(26.935,0.26),(26.935,0.425),(26.905,0.425),(26.905,0.89),(27.075,0.89),(27.075,0.59),(27.105,0.59),(27.105,0.26)],
  [(2.795,0.26),(2.795,0.59),(2.825,0.59),(2.825,0.89),(2.995,0.89),(2.995,0.425),(2.965,0.425),(2.965,0.26)],
  [(10.065,0.26),(10.065,0.59),(10.095,0.59),(10.095,0.89),(10.265,0.89),(10.265,0.425),(10.235,0.425),(10.235,0.26)],
  [(17.335,0.26),(17.335,0.59),(17.365,0.59),(17.365,0.89),(17.535,0.89),(17.535,0.425),(17.505,0.425),(17.505,0.26)],
  [(24.605,0.26),(24.605,0.59),(24.635,0.59),(24.635,0.89),(24.805,0.89),(24.805,0.425),(24.775,0.425),(24.775,0.26)],
  [(0,-0.085),(0,0.085),(0.325,0.085),(0.325,0.59),(0.495,0.59),(0.495,0.085),(1.82,0.085),(1.82,0.59),(1.99,0.59),(1.99,0.085),(3.745,0.085),(3.745,0.59),(3.915,0.59),(3.915,0.085),(6.1,0.085),(6.1,0.59),(6.27,0.59),(6.27,0.085),(7.595,0.085),(7.595,0.59),(7.765,0.59),(7.765,0.085),(9.09,0.085),(9.09,0.59),(9.26,0.59),(9.26,0.085),(11.015,0.085),(11.015,0.59),(11.185,0.59),(11.185,0.085),(13.37,0.085),(13.37,0.59),(13.54,0.59),(13.54,0.085),(14.865,0.085),(14.865,0.59),(15.035,0.59),(15.035,0.085),(16.36,0.085),(16.36,0.59),(16.53,0.59),(16.53,0.085),(18.285,0.085),(18.285,0.59),(18.455,0.59),(18.455,0.085),(20.64,0.085),(20.64,0.59),(20.81,0.59),(20.81,0.085),(22.135,0.085),(22.135,0.59),(22.305,0.59),(22.305,0.085),(23.63,0.085),(23.63,0.59),(23.8,0.59),(23.8,0.085),(25.555,0.085),(25.555,0.59),(25.725,0.59),(25.725,0.085),(27.91,0.085),(27.91,0.59),(28.08,0.59),(28.08,0.085),(29.405,0.085),(29.405,0.59),(29.575,0.59),(29.575,0.085),(29.9,0.085),(29.9,-0.085)])
A(dlxtp8_x1, mcon, 0.145, -0.085, 0.17, 0.17, 65, 2, 0.46, 2.72)
A(dlxtp8_x1, mcon, 3.745, 0.815, 0.17, 0.17, 4, 1, 7.27, 0)
R(dlxtp8_x1, mcon, [(0.755,0.69,0.925,0.86), (3.225,0.69,3.395,0.86), (4.695,0.69,4.865,0.86), (7.165,0.69,7.335,0.86), (8.025,0.69,8.195,0.86), (10.495,0.69,10.665,0.86), (11.965,0.69,12.135,0.86), (14.435,0.69,14.605,0.86), (15.295,0.69,15.465,0.86), (17.765,0.69,17.935,0.86), (19.235,0.69,19.405,0.86), (21.705,0.69,21.875,0.86), (22.565,0.69,22.735,0.86), (25.035,0.69,25.205,0.86), (26.505,0.69,26.675,0.86), (28.975,0.69,29.145,0.86), (2.825,0.72,2.995,0.89), (5.095,0.72,5.265,0.89), (10.095,0.72,10.265,0.89), (12.365,0.72,12.535,0.89), (17.365,0.72,17.535,0.89), (19.635,0.72,19.805,0.89), (24.635,0.72,24.805,0.89), (26.905,0.72,27.075,0.89), (1.615,1.175,1.785,1.345), (6.305,1.175,6.475,1.345), (8.885,1.175,9.055,1.345), (13.575,1.175,13.745,1.345), (16.155,1.175,16.325,1.345), (20.845,1.175,21.015,1.345), (23.425,1.175,23.595,1.345), (28.115,1.175,28.285,1.345), (0.755,2.14,0.925,2.31), (2.795,2.14,2.965,2.31), (3.225,2.14,3.395,2.31), (4.695,2.14,4.865,2.31), (5.125,2.14,5.295,2.31), (7.165,2.14,7.335,2.31), (8.025,2.14,8.195,2.31), (10.065,2.14,10.235,2.31), (10.495,2.14,10.665,2.31), (11.965,2.14,12.135,2.31), (12.395,2.14,12.565,2.31), (14.435,2.14,14.605,2.31), (15.295,2.14,15.465,2.31), (17.335,2.14,17.505,2.31), (17.765,2.14,17.935,2.31), (19.235,2.14,19.405,2.31), (19.665,2.14,19.835,2.31), (21.705,2.14,21.875,2.31), (22.565,2.14,22.735,2.31), (24.605,2.14,24.775,2.31), (25.035,2.14,25.205,2.31), (26.505,2.14,26.675,2.31), (26.935,2.14,27.105,2.31), (28.975,2.14,29.145,2.31)])
R(dlxtp8_x1, met1_pin, [(0.15,-0.085,0.32,0.085), (3.685,0.38,25.785,0.52), (0.755,1.275,0.925,1.445), (3.225,1.275,3.395,1.445), (4.695,1.275,4.865,1.445), (7.165,1.275,7.335,1.445), (8.025,1.275,8.195,1.445), (10.495,1.275,10.665,1.445), (11.965,1.275,12.135,1.445), (14.435,1.275,14.605,1.445), (15.295,1.275,15.465,1.445), (17.765,1.275,17.935,1.445), (19.235,1.275,19.405,1.445), (21.705,1.275,21.875,1.445), (22.565,1.275,22.735,1.445), (25.035,1.275,25.205,1.445), (26.505,1.275,26.675,1.445), (28.975,1.275,29.145,1.445), (0.15,2.635,0.32,2.805)])
R(dlxtp8_x1, met1, [(0,-0.24,29.9,0.24), (0.695,0.66,0.985,2.34), (3.165,0.66,3.455,2.34), (4.635,0.66,4.925,2.34), (7.105,0.66,7.395,2.34), (7.965,0.66,8.255,2.34), (10.435,0.66,10.725,2.34), (11.905,0.66,12.195,2.34), (14.375,0.66,14.665,2.34), (15.235,0.66,15.525,2.34), (17.705,0.66,17.995,2.34), (19.175,0.66,19.465,2.34), (21.645,0.66,21.935,2.34), (22.505,0.66,22.795,2.34), (24.975,0.66,25.265,2.34), (26.445,0.66,26.735,2.34), (28.915,0.66,29.205,2.34), (0,2.48,29.9,2.96)])
P(dlxtp8_x1, met1, [(5.065,0.66),(5.065,2.34),(5.355,2.34),(5.355,1.33),(6.245,1.33),(6.245,1.405),(6.535,1.405),(6.535,1.115),(6.245,1.115),(6.245,1.19),(5.355,1.19),(5.355,0.66)],
  [(12.335,0.66),(12.335,2.34),(12.625,2.34),(12.625,1.33),(13.515,1.33),(13.515,1.405),(13.805,1.405),(13.805,1.115),(13.515,1.115),(13.515,1.19),(12.625,1.19),(12.625,0.66)],
  [(19.605,0.66),(19.605,2.34),(19.895,2.34),(19.895,1.33),(20.785,1.33),(20.785,1.405),(21.075,1.405),(21.075,1.115),(20.785,1.115),(20.785,1.19),(19.895,1.19),(19.895,0.66)],
  [(26.875,0.66),(26.875,2.34),(27.165,2.34),(27.165,1.33),(28.055,1.33),(28.055,1.405),(28.345,1.405),(28.345,1.115),(28.055,1.115),(28.055,1.19),(27.165,1.19),(27.165,0.66)],
  [(2.735,0.66),(2.735,1.19),(1.845,1.19),(1.845,1.115),(1.555,1.115),(1.555,1.405),(1.845,1.405),(1.845,1.33),(2.735,1.33),(2.735,2.34),(3.025,2.34),(3.025,0.66)],
  [(10.005,0.66),(10.005,1.19),(9.115,1.19),(9.115,1.115),(8.825,1.115),(8.825,1.405),(9.115,1.405),(9.115,1.33),(10.005,1.33),(10.005,2.34),(10.295,2.34),(10.295,0.66)],
  [(17.275,0.66),(17.275,1.19),(16.385,1.19),(16.385,1.115),(16.095,1.115),(16.095,1.405),(16.385,1.405),(16.385,1.33),(17.275,1.33),(17.275,2.34),(17.565,2.34),(17.565,0.66)],
  [(24.545,0.66),(24.545,1.19),(23.655,1.19),(23.655,1.115),(23.365,1.115),(23.365,1.405),(23.655,1.405),(23.655,1.33),(24.545,1.33),(24.545,2.34),(24.835,2.34),(24.835,0.66)],
  [(3.685,0.38),(3.685,1.045),(3.975,1.045),(3.975,0.52),(10.955,0.52),(10.955,1.045),(11.245,1.045),(11.245,0.52),(18.225,0.52),(18.225,1.045),(18.515,1.045),(18.515,0.52),(25.495,0.52),(25.495,1.045),(25.785,1.045),(25.785,0.38)])
R(dlxtp8_x1, hvtp, [(0,1.25,29.9,2.72)])
R(dlxtp8_x1, stdcell_id, [(0,0,29.9,2.72)])
R(dlxtp8_x1, nsdm, [(0,-0.19,29.9,1.015)])
R(dlxtp8_x1, psdm, [(0,1.935,29.9,2.91)])
R(dlxtp8_x1, npc, [(0,0.715,29.9,1.925)])
R(dlxtp8_x1, pwell_pin, [(0.15,-0.085,0.32,0.085)])
R(dlxtp8_x1, boundary2, [(0,0,29.9,2.72)])
dlxtp8_x1.add(gdstk.Label('VGND', (0.235,0), layer=68, texttype=5))
dlxtp8_x1.add(gdstk.Label('GATE', (14.735,0.45), layer=68, texttype=5))
dlxtp8_x1.add(gdstk.Label('Q7', (29.06,1.36), layer=68, texttype=5))
dlxtp8_x1.add(gdstk.Label('D7', (26.59,1.36), layer=68, texttype=5))
dlxtp8_x1.add(gdstk.Label('Q6', (22.65,1.36), layer=68, texttype=5))
dlxtp8_x1.add(gdstk.Label('Q5', (21.79,1.36), layer=68, texttype=5))
dlxtp8_x1.add(gdstk.Label('Q0', (0.84,1.36), layer=68, texttype=5))
dlxtp8_x1.add(gdstk.Label('D5', (19.32,1.36), layer=68, texttype=5))
dlxtp8_x1.add(gdstk.Label('D0', (3.31,1.36), layer=68, texttype=5))
dlxtp8_x1.add(gdstk.Label('D1', (4.78,1.36), layer=68, texttype=5))
dlxtp8_x1.add(gdstk.Label('Q1', (7.25,1.36), layer=68, texttype=5))
dlxtp8_x1.add(gdstk.Label('D2', (10.58,1.36), layer=68, texttype=5))
dlxtp8_x1.add(gdstk.Label('Q4', (15.38,1.36), layer=68, texttype=5))
dlxtp8_x1.add(gdstk.Label('Q2', (8.11,1.36), layer=68, texttype=5))
dlxtp8_x1.add(gdstk.Label('D6', (25.12,1.36), layer=68, texttype=5))
dlxtp8_x1.add(gdstk.Label('D3', (12.05,1.36), layer=68, texttype=5))
dlxtp8_x1.add(gdstk.Label('VPWR', (0.235,2.72), layer=68, texttype=5))
dlxtp8_x1.add(gdstk.Label('Q3', (14.52,1.36), layer=68, texttype=5))
dlxtp8_x1.add(gdstk.Label('D4', (17.85,1.36), layer=68, texttype=5))
dlxtp8_x1.add(gdstk.Label('VPB', (0.235,2.72), layer=64, texttype=5))
dlxtp8_x1.add(gdstk.Label('VNB', (0.235,0), layer=64, texttype=59))
dlxtp8_x1.add(gdstk.Label('dlxtp8_x1', (0,0), layer=83, texttype=44))
dlxtp8_x1.add(gdstk.Label('XB7', (28.54,1.26), layer=67, texttype=5))
dlxtp8_x1.add(gdstk.Label('X7', (27.02,0.425), layer=67, texttype=5))
dlxtp8_x1.add(gdstk.Label('XB6', (23.17,1.26), layer=67, texttype=5))
dlxtp8_x1.add(gdstk.Label('X6', (24.69,0.425), layer=67, texttype=5))
dlxtp8_x1.add(gdstk.Label('XB5', (21.27,1.26), layer=67, texttype=5))
dlxtp8_x1.add(gdstk.Label('X5', (19.75,0.425), layer=67, texttype=5))
dlxtp8_x1.add(gdstk.Label('X1', (5.21,0.425), layer=67, texttype=5))
dlxtp8_x1.add(gdstk.Label('XB0', (1.36,1.26), layer=67, texttype=5))
dlxtp8_x1.add(gdstk.Label('XB1', (6.73,1.26), layer=67, texttype=5))
dlxtp8_x1.add(gdstk.Label('GN1', (11.53,1.26), layer=67, texttype=5))
dlxtp8_x1.add(gdstk.Label('X2', (10.15,0.425), layer=67, texttype=5))
dlxtp8_x1.add(gdstk.Label('XB2', (8.63,1.26), layer=67, texttype=5))
dlxtp8_x1.add(gdstk.Label('X0', (2.88,0.425), layer=67, texttype=5))
dlxtp8_x1.add(gdstk.Label('XB3', (14,1.26), layer=67, texttype=5))
dlxtp8_x1.add(gdstk.Label('XB4', (15.9,1.26), layer=67, texttype=5))
dlxtp8_x1.add(gdstk.Label('GN3', (26.07,1.26), layer=67, texttype=5))
dlxtp8_x1.add(gdstk.Label('GN0', (4.26,1.26), layer=67, texttype=5))
dlxtp8_x1.add(gdstk.Label('GN2', (18.8,1.26), layer=67, texttype=5))
dlxtp8_x1.add(gdstk.Label('X3', (12.48,0.425), layer=67, texttype=5))
dlxtp8_x1.add(gdstk.Label('X4', (17.42,0.425), layer=67, texttype=5))

lib.write_gds('dlxtp8_x1.gds')
